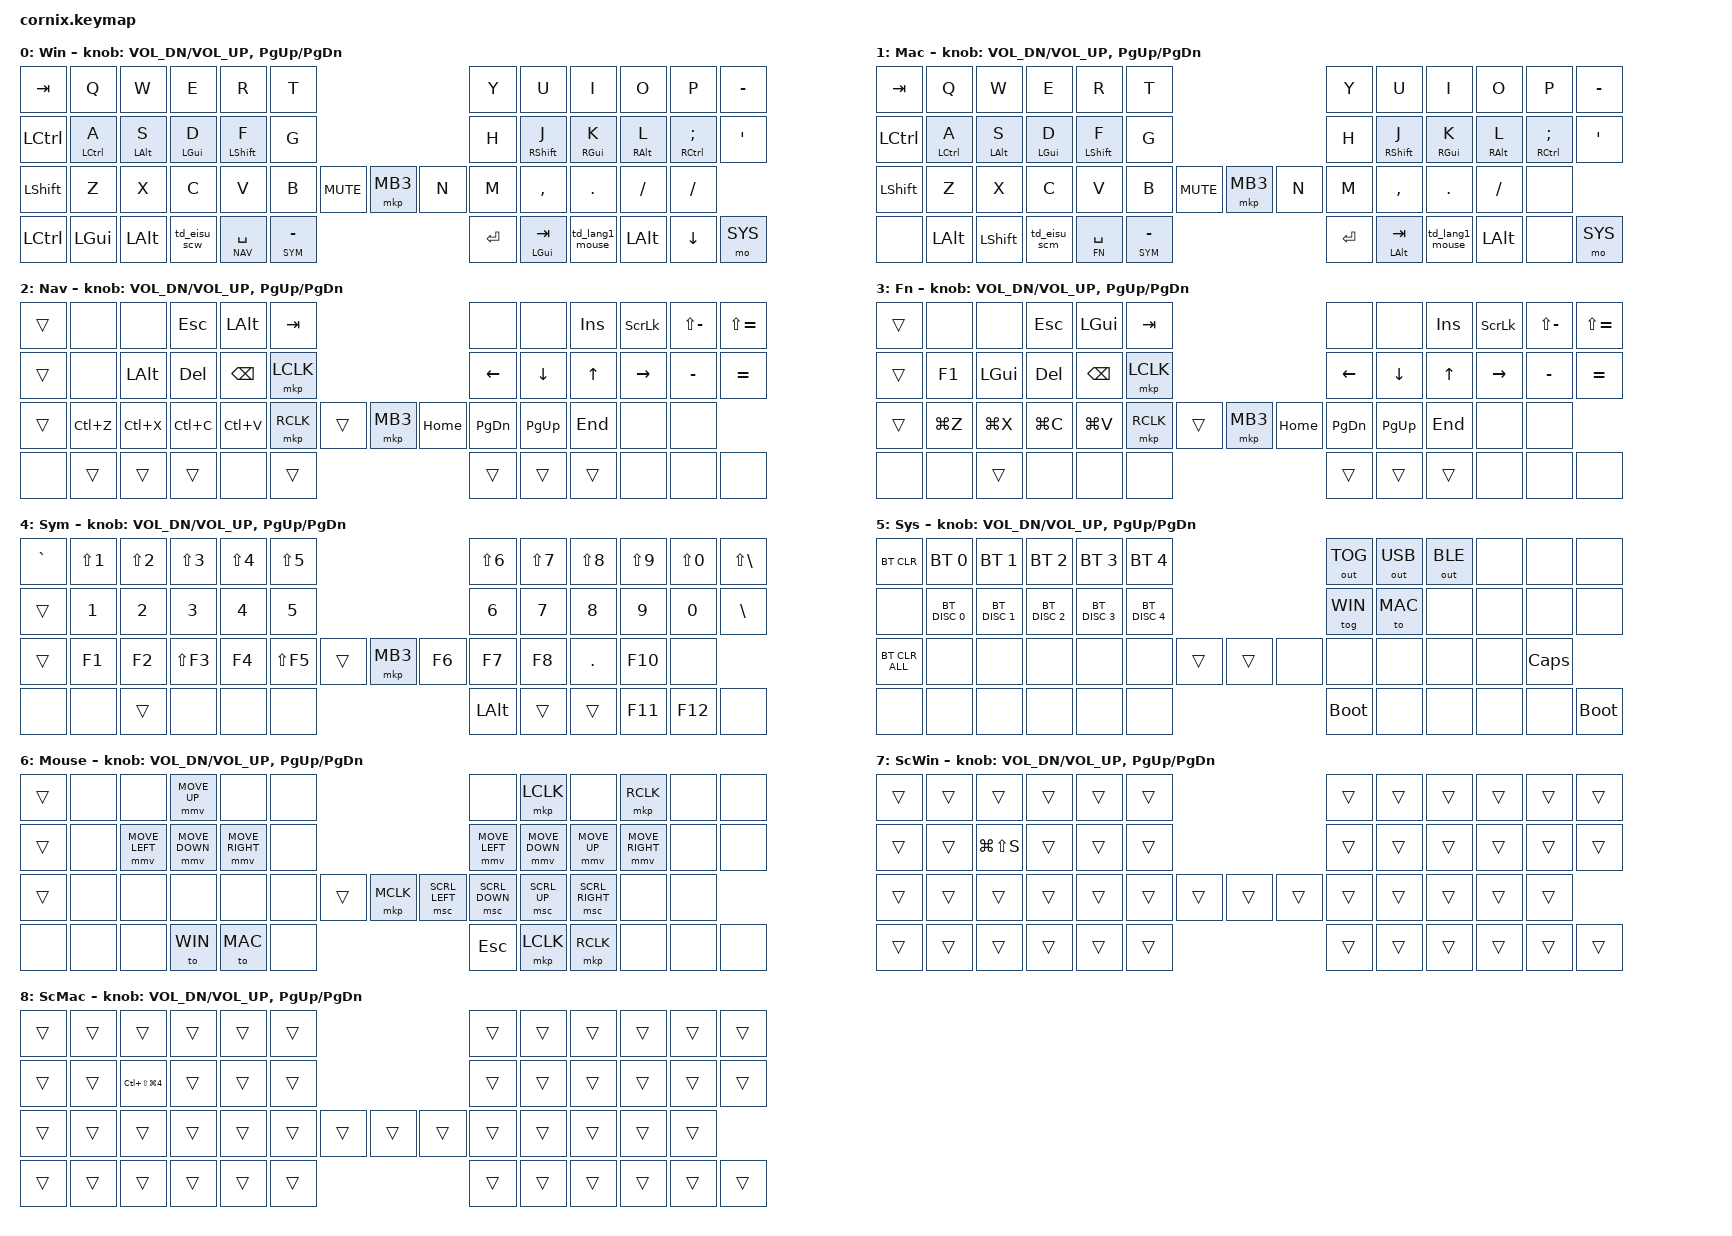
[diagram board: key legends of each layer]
/*
 * Cornix LP ZMK Keymap
 * Vial レイアウトをベースにホームロウモッドを追加
 *
 * Layer 0: WIN  - Windows ベース
 * Layer 1: MAC  - Mac ベース
 * Layer 2: NAV  - ナビゲーション（Win: LH1ホールド）
 * Layer 3: FN   - ファンクション（Mac: LH1ホールド）
 * Layer 4: SYM  - 記号・数字（LH0ホールド）
 * Layer 5: SYS  - システム・BT（RP2）
 * Layer 6: MOUSE- マウス操作（RH2 のダブルタップで起動／&to WIN・&to MAC で復帰）
 * Layer 7: SCW  - ショートカット Win（Ctrl 系。LH2 のダブルタップ＋ホールドで一時起動）
 * Layer 8: SCM  - ショートカット Mac（Cmd 系。LH2 のダブルタップ＋ホールドで一時起動）
 */

#include "zmk-helpers/helper.h"
#include "includes/cornix54.h"
#include <behaviors.dtsi>
#include <dt-bindings/zmk/bt.h>
#include <dt-bindings/zmk/outputs.h>
#include <dt-bindings/zmk/ext_power.h>
#include <dt-bindings/zmk/keys.h>
#include <dt-bindings/zmk/pointing.h>

// ホームロウモッドのタイミング設定
#define HM_TAPPING_TERM      250  // 通常キー（Ctrl/Alt/Gui）
#define HM_TAPPING_TERM_FAST 200  // Shift（より速く反応）
#define HM_PRIOR_IDLE        70   // 直前キー入力後 70ms 以内なら常にタップ

// レイヤー番号
#define WIN 0
#define MAC 1
#define NAV 2
#define FN  3
#define SYM 4
#define SYS 5
#define MOUSE 6
#define SCW 7
#define SCM 8

// ホームロウモッドの hold-trigger-key-positions 用定義
#define KEYS_L LT0 LT1 LT2 LT3 LT4 LT5 LM0 LM1 LM2 LM3 LM4 LM5 LB0 LB1 LB2 LB3 LB4 LB5
#define KEYS_R RT0 RT1 RT2 RT3 RT4 RT5 RM0 RM1 RM2 RM3 RM4 RM5 RB0 RB1 RB2 RB3 RB4 RB5
#define KEYS_T LH1 LH0 RH0 RH1

/ {
    behaviors {
        // 左手ホームロウモッド（右手キーを押したときだけホールドが発動）
        // tap-preferred: tapping-term 経過時のみホールド判定（左右で同じタイミング）
        hm_l: homerow_mods_left {
            compatible = "zmk,behavior-hold-tap";
            #binding-cells = <2>;
            bindings = <&kp>, <&kp>;
            flavor = "tap-preferred";
            tapping-term-ms = <HM_TAPPING_TERM>;
            quick-tap-ms = <200>;
            require-prior-idle-ms = <HM_PRIOR_IDLE>;
            hold-trigger-key-positions = <KEYS_R KEYS_T>;
            hold-trigger-on-release;
        };

        // 右手ホームロウモッド（左手キーを押したときだけホールドが発動）
        hm_r: homerow_mods_right {
            compatible = "zmk,behavior-hold-tap";
            #binding-cells = <2>;
            bindings = <&kp>, <&kp>;
            flavor = "tap-preferred";
            tapping-term-ms = <HM_TAPPING_TERM>;
            quick-tap-ms = <200>;
            require-prior-idle-ms = <HM_PRIOR_IDLE>;
            hold-trigger-key-positions = <KEYS_L KEYS_T>;
            hold-trigger-on-release;
        };

        // 左 Shift（速いタッピングタイム）
        hm_shift_l: hm_shift_l {
            compatible = "zmk,behavior-hold-tap";
            #binding-cells = <2>;
            bindings = <&kp>, <&kp>;
            flavor = "tap-preferred";
            tapping-term-ms = <HM_TAPPING_TERM_FAST>;
            quick-tap-ms = <200>;
            require-prior-idle-ms = <HM_PRIOR_IDLE>;
            hold-trigger-key-positions = <KEYS_R KEYS_T>;
            hold-trigger-on-release;
        };

        // 右 Shift（速いタッピングタイム）
        hm_shift_r: hm_shift_r {
            compatible = "zmk,behavior-hold-tap";
            #binding-cells = <2>;
            bindings = <&kp>, <&kp>;
            flavor = "tap-preferred";
            tapping-term-ms = <HM_TAPPING_TERM_FAST>;
            quick-tap-ms = <200>;
            require-prior-idle-ms = <HM_PRIOR_IDLE>;
            hold-trigger-key-positions = <KEYS_L KEYS_T>;
            hold-trigger-on-release;
        };

        // 位置制限なしのホールドタップ（サムキー用）
        hm: homerow_mods {
            compatible = "zmk,behavior-hold-tap";
            #binding-cells = <2>;
            bindings = <&kp>, <&kp>;
            flavor = "balanced";
            tapping-term-ms = <HM_TAPPING_TERM>;
            quick-tap-ms = <200>;
        };

        // レイヤータップ（サムキー用）
        lt: layer_tap {
            compatible = "zmk,behavior-hold-tap";
            #binding-cells = <2>;
            bindings = <&mo>, <&kp>;
            flavor = "hold-preferred";
            tapping-term-ms = <HM_TAPPING_TERM>;
            quick-tap-ms = <200>;
        };

        // RH2: タップ=LANG1 / ホールド=Shift / ダブルタップ=MOUSE レイヤーへ切替
        // （内側のホールドタップ &hm をネストして tap/hold を再現）
        td_lang1_mouse: tapdance_lang1_mouse {
            compatible = "zmk,behavior-tap-dance";
            #binding-cells = <0>;
            tapping-term-ms = <200>;
            bindings = <&hm LSHFT LANG1>, <&to MOUSE>;
        };

        // LH2(Win): タップ=LANG2(英数) / ホールド=LSHFT / ダブルタップ＋ホールド=SCW へ一時切替
        td_eisu_scw: tapdance_eisu_scw {
            compatible = "zmk,behavior-tap-dance";
            #binding-cells = <0>;
            tapping-term-ms = <200>;
            bindings = <&hm LSHFT LANG2>, <&mo SCW>;
        };

        // LH2(Mac): タップ=LANG2(英数) / ホールド=LGUI / ダブルタップ＋ホールド=SCM へ一時切替
        td_eisu_scm: tapdance_eisu_scm {
            compatible = "zmk,behavior-tap-dance";
            #binding-cells = <0>;
            tapping-term-ms = <200>;
            bindings = <&hm LGUI LANG2>, <&mo SCM>;
        };
    };

    combos {
        compatible = "zmk,combos";

        // Win レイヤーで M+A+C → Mac レイヤーへ切替
        combo_to_mac {
            bindings = <&to MAC>;
            key-positions = <13 27 33>;  // A C M（mac と打つ → mac レイヤーへ）
            layers = <WIN>;
        };

        // Mac レイヤーで W+I+N → Win レイヤーへ切替
        combo_to_win {
            bindings = <&to WIN>;
            key-positions = <2 8 32>;    // W I N（win と打つ → win レイヤーへ）
            layers = <MAC>;
        };

        // D+F → (
        combo_lparen {
            bindings = <&kp LS(N9)>;
            key-positions = <15 16>;     // D F
            layers = <MAC WIN>;
        };

        // J+K → )
        combo_rparen {
            bindings = <&kp LS(N0)>;
            key-positions = <19 20>;     // J K
            layers = <MAC WIN>;
        };

        // W+E+R → {
        combo_lbrace {
            bindings = <&kp LS(LBKT)>;
            key-positions = <2 3 4>;     // W E R
            layers = <MAC WIN>;
        };

        // U+I+O → }
        combo_rbrace {
            bindings = <&kp LS(RBKT)>;
            key-positions = <7 8 9>;     // U I O
            layers = <MAC WIN>;
        };

        // C+V → [
        combo_lbracket {
            bindings = <&kp LBKT>;
            key-positions = <27 28>;     // C V
            layers = <MAC WIN>;
        };

        // M+, → ]
        combo_rbracket {
            bindings = <&kp RBKT>;
            key-positions = <33 34>;     // M ,
            layers = <MAC WIN>;
        };
    };

    keymap {
        compatible = "zmk,keymap";

        // ─────────────────────────────────────────────────────────────────────
        // Layer 0: WIN
        // ホームロウ: A=Ctrl S=Alt D=Gui F=Shift | J=Shift K=Gui L=Alt ;=Ctrl
        // ─────────────────────────────────────────────────────────────────────
        mac_layer {
            display-name = "Win";
            bindings = <
//  ╭─────────┬──────────────────┬──────────────┬──────────────┬───────────────────┬──────────╮                              ╭──────────┬───────────────────┬─────────────────┬──────────────┬───────────────────┬──────────╮
    &kp TAB    &kp Q              &kp W          &kp E          &kp R               &kp T                                     &kp Y      &kp U               &kp I             &kp O          &kp P               &kp MINUS
//  ├─────────┼──────────────────┼──────────────┼──────────────┼───────────────────┼──────────┤                              ├──────────┼───────────────────┼─────────────────┼──────────────┼───────────────────┼──────────┤
    &kp LCTRL  &hm_l LCTRL A      &hm_l LALT S   &hm_l LGUI D   &hm_shift_l LSHFT F &kp G                                    &kp H      &hm_shift_r RSHFT J &hm_r RGUI K      &hm_r RALT L   &hm_r RCTRL SEMI    &kp SQT
//  ├─────────┼──────────────────┼──────────────┼──────────────┼───────────────────┼──────────┼──────────╮  ╭──────────┼──────────┼───────────────────┼─────────────────┼──────────────┼───────────────────┼──────────┤
    &kp LSHFT  &kp Z              &kp X          &kp C          &kp V               &kp B      &kp C_MUTE   &mkp MB3   &kp N      &kp M               &kp COMMA         &kp DOT        &kp FSLH            &kp FSLH
//  ├─────────┼──────────────────┼──────────────┼──────────────┼───────────────────┼──────────╯              ╰──────────┼───────────────────┼─────────────────┼──────────────┼───────────────────┼──────────┤
    &kp LCTRL  &kp LGUI           &kp LALT       &td_eisu_scw    &lt NAV SPACE      &lt SYM MINUS                            &kp ENTER  &hm LGUI TAB        &td_lang1_mouse   &kp LALT       &kp DOWN            &mo SYS
//  ╰─────────┴──────────────────┴──────────────┴──────────────┴───────────────────┴──────────────────────────────────────────────────────┴─────────────────┴──────────────┴───────────────────┴──────────╯
            >;
            sensor-bindings = <&inc_dec_kp C_VOL_DN C_VOL_UP &inc_dec_kp PG_UP PG_DN>;
        };

        // ─────────────────────────────────────────────────────────────────────
        // Layer 1: MAC（Mac 用）
        // ─────────────────────────────────────────────────────────────────────
        win_layer {
            display-name = "Mac";
            bindings = <
    &kp TAB    &kp Q              &kp W          &kp E          &kp R               &kp T                                     &kp Y      &kp U               &kp I             &kp O          &kp P               &kp MINUS
    &kp LCTRL  &hm_l LCTRL A      &hm_l LALT S   &hm_l LGUI D   &hm_shift_l LSHFT F &kp G                                    &kp H      &hm_shift_r RSHFT J &hm_r RGUI K      &hm_r RALT L   &hm_r RCTRL SEMI    &kp SQT
    &kp LSHFT  &kp Z              &kp X          &kp C          &kp V               &kp B      &kp C_MUTE   &mkp MB3   &kp N      &kp M               &kp COMMA         &kp DOT        &kp FSLH            &none
    &none      &kp LALT           &kp LSHFT      &td_eisu_scm    &lt FN SPACE       &lt SYM MINUS                            &kp ENTER  &hm LALT TAB        &td_lang1_mouse   &kp LALT       &none               &mo SYS
            >;
            sensor-bindings = <&inc_dec_kp C_VOL_DN C_VOL_UP &inc_dec_kp PG_UP PG_DN>;
        };

        // ─────────────────────────────────────────────────────────────────────
        // Layer 2: NAV（ナビゲーション・Win 用）
        // LH1 ホールドで起動
        // 左手: G=左クリック / B=右クリック（右手は Nape Pro のボールに置いたまま）
        //       Z/X/C/V = Ctrl+Z/X/C/V（元に戻す・切り取り・コピー・ペースト）
        // ─────────────────────────────────────────────────────────────────────
        nav_layer {
            display-name = "Nav";
            bindings = <
    &trans     &none              &none          &kp ESC        &kp LALT            &kp TAB                                   &none      &none               &kp INS           &kp SLCK       &kp LS(MINUS)       &kp LS(EQUAL)
    &trans     &none              &kp LALT       &kp DEL        &kp BSPC            &mkp LCLK                                 &kp LEFT   &kp DOWN            &kp UP            &kp RIGHT      &kp MINUS           &kp EQUAL
    &trans     &kp LC(Z)          &kp LC(X)      &kp LC(C)      &kp LC(V)           &mkp RCLK  &trans       &mkp MB3   &kp HOME   &kp PG_DN           &kp PG_UP         &kp END        &none               &none
    &none      &trans             &trans         &trans         &none               &trans                                    &trans     &trans              &trans            &none          &none               &none
            >;
            sensor-bindings = <&inc_dec_kp C_VOL_DN C_VOL_UP &inc_dec_kp PG_UP PG_DN>;
        };

        // ─────────────────────────────────────────────────────────────────────
        // Layer 3: FN（ファンクション・Mac 用）
        // LH1 ホールドで起動（Mac モード時）
        // 左手: G=左クリック / B=右クリック（右手は Nape Pro のボールに置いたまま）
        //       Z/X/C/V = Cmd+Z/X/C/V（元に戻す・切り取り・コピー・ペースト）
        // ─────────────────────────────────────────────────────────────────────
        fn_layer {
            display-name = "Fn";
            bindings = <
    &trans     &none              &none          &kp ESC        &kp LGUI            &kp TAB                                   &none      &none               &kp INS           &kp SLCK       &kp LS(MINUS)       &kp LS(EQUAL)
    &trans     &kp F1             &kp LGUI       &kp DEL        &kp BSPC            &mkp LCLK                                 &kp LEFT   &kp DOWN            &kp UP            &kp RIGHT      &kp MINUS           &kp EQUAL
    &trans     &kp LG(Z)          &kp LG(X)      &kp LG(C)      &kp LG(V)           &mkp RCLK  &trans       &mkp MB3   &kp HOME   &kp PG_DN           &kp PG_UP         &kp END        &none               &none
    &none      &none              &trans         &none          &none               &none                                     &trans     &trans              &trans            &none          &none               &none
            >;
            sensor-bindings = <&inc_dec_kp C_VOL_DN C_VOL_UP &inc_dec_kp PG_UP PG_DN>;
        };

        // ─────────────────────────────────────────────────────────────────────
        // Layer 4: SYM（記号・数字）
        // LH0 ホールドで起動
        // ─────────────────────────────────────────────────────────────────────
        sym_layer {
            display-name = "Sym";
            bindings = <
    &kp GRAVE  &kp LS(N1)         &kp LS(N2)     &kp LS(N3)     &kp LS(N4)          &kp LS(N5)                                &kp LS(N6) &kp LS(N7)          &kp LS(N8)        &kp LS(N9)     &kp LS(N0)          &kp LS(BSLH)
    &trans     &kp N1             &kp N2         &kp N3         &kp N4              &kp N5                                    &kp N6     &kp N7              &kp N8            &kp N9         &kp N0              &kp BSLH
    &trans     &kp F1             &kp F2         &kp LS(F3)     &kp F4              &kp LS(F5) &trans       &mkp MB3   &kp F6     &kp F7              &kp F8            &kp DOT        &kp F10             &none
    &none      &none              &trans         &none          &none               &none                                     &kp LALT   &trans              &trans            &kp F11        &kp F12             &none
            >;
            sensor-bindings = <&inc_dec_kp C_VOL_DN C_VOL_UP &inc_dec_kp PG_UP PG_DN>;
        };

        // ─────────────────────────────────────────────────────────────────────
        // Layer 5: SYS（システム・Bluetooth）
        // RP2（右外側サムキー）ホールドで起動
        // ─────────────────────────────────────────────────────────────────────
        sys_layer {
            display-name = "Sys";
            bindings = <
    &bt BT_CLR      &bt BT_SEL 0   &bt BT_SEL 1   &bt BT_SEL 2   &bt BT_SEL 3   &bt BT_SEL 4                               &out OUT_TOG &out OUT_USB      &out OUT_BLE      &none          &none               &none
    &none           &bt BT_DISC 0  &bt BT_DISC 1  &bt BT_DISC 2  &bt BT_DISC 3  &bt BT_DISC 4                              &tog WIN   &to MAC             &none             &none          &none               &none
    &bt BT_CLR_ALL  &none          &none          &none          &none          &none          &trans       &trans     &none      &none               &none             &none          &none               &kp CAPS
    &none           &none          &none          &none          &none          &none                                         &bootloader &none             &none             &none          &none               &bootloader
            >;
            sensor-bindings = <&inc_dec_kp C_VOL_DN C_VOL_UP &inc_dec_kp PG_UP PG_DN>;
        };

        // ─────────────────────────────────────────────────────────────────────
        // Layer 6: MOUSE（マウス操作）
        // 起動: RH2 のダブルタップ（&to MOUSE）
        // 復帰: 左サム &to MAC（LH1）/ &to WIN（LH2）
        // 移動: 右手 H/J/K/L ＝ 左/下/上/右、左手 E/S/D/F ＝ 上/左/下/右（同速）
        // クリック: 右サム RH1=左/ RH2=右、右上 U=左/ O=右、中央 MB3=中
        // スクロール: 右下 N/M/,/. ＝ 左/下/上/右
        // ─────────────────────────────────────────────────────────────────────
        mouse_layer {
            display-name = "Mouse";
            bindings = <
//  ╭─────────┬──────────────────┬──────────────┬──────────────┬───────────────────┬──────────╮                              ╭──────────┬───────────────────┬─────────────────┬──────────────┬───────────────────┬──────────╮
    &trans     &none              &none          &mmv MOVE_UP   &none               &none                                     &none      &mkp LCLK           &none             &mkp RCLK      &none               &none
//  ├─────────┼──────────────────┼──────────────┼──────────────┼───────────────────┼──────────┤                              ├──────────┼───────────────────┼─────────────────┼──────────────┼───────────────────┼──────────┤
    &trans     &none              &mmv MOVE_LEFT &mmv MOVE_DOWN &mmv MOVE_RIGHT     &none                                     &mmv MOVE_LEFT &mmv MOVE_DOWN  &mmv MOVE_UP      &mmv MOVE_RIGHT &none              &none
//  ├─────────┼──────────────────┼──────────────┼──────────────┼───────────────────┼──────────┼──────────╮  ╭──────────┼──────────┼───────────────────┼─────────────────┼──────────────┼───────────────────┼──────────┤
    &trans     &none              &none          &none          &none               &none      &trans       &mkp MCLK  &msc SCRL_LEFT &msc SCRL_DOWN  &msc SCRL_UP      &msc SCRL_RIGHT &none             &none
//  ├─────────┼──────────────────┼──────────────┼──────────────┼───────────────────┼──────────╯              ╰──────────┼───────────────────┼─────────────────┼──────────────┼───────────────────┼──────────┤
    &none      &none              &none          &to WIN        &to MAC             &none                                     &kp ESC    &mkp LCLK           &mkp RCLK         &none          &none               &none
//  ╰─────────┴──────────────────┴──────────────┴──────────────┴───────────────────┴──────────────────────────────────────────────────────┴─────────────────┴──────────────┴───────────────────┴──────────╯
            >;
            sensor-bindings = <&inc_dec_kp C_VOL_DN C_VOL_UP &inc_dec_kp PG_UP PG_DN>;
        };
        // ─────────────────────────────────────────────────────────────────────
        // Layer 7: SCW（ショートカット・Windows）
        // 起動: LH2 のダブルタップ＋ホールド（&mo SCW、押している間だけ有効）
        // 現状は S = スクリーンショット（Win+Shift+S）のみ。他は &trans（順次追加予定）
        // ─────────────────────────────────────────────────────────────────────
        scw_layer {
            display-name = "ScWin";
            bindings = <
    &trans     &trans             &trans         &trans         &trans              &trans                                    &trans     &trans              &trans            &trans         &trans              &trans
    &trans     &trans             &kp LG(LS(S))  &trans         &trans              &trans                                    &trans     &trans              &trans            &trans         &trans              &trans
    &trans     &trans             &trans         &trans         &trans              &trans     &trans       &trans     &trans     &trans              &trans            &trans         &trans              &trans
    &trans     &trans             &trans         &trans         &trans              &trans                                    &trans     &trans              &trans            &trans         &trans              &trans
            >;
            sensor-bindings = <&inc_dec_kp C_VOL_DN C_VOL_UP &inc_dec_kp PG_UP PG_DN>;
        };

        // ─────────────────────────────────────────────────────────────────────
        // Layer 8: SCM（ショートカット・Mac）
        // 起動: LH2 のダブルタップ＋ホールド（&mo SCM、押している間だけ有効）
        // 現状は S = スクリーンショット（Ctrl+Shift+Cmd+4）のみ。他は &trans（順次追加予定）
        // ─────────────────────────────────────────────────────────────────────
        scm_layer {
            display-name = "ScMac";
            bindings = <
    &trans     &trans               &trans         &trans         &trans              &trans                                    &trans     &trans              &trans            &trans         &trans              &trans
    &trans     &trans               &kp LC(LS(LG(N4)))  &trans    &trans              &trans                                   &trans     &trans              &trans            &trans         &trans              &trans
    &trans     &trans               &trans         &trans         &trans              &trans     &trans       &trans     &trans     &trans              &trans            &trans         &trans              &trans
    &trans     &trans               &trans         &trans         &trans              &trans                                    &trans     &trans              &trans            &trans         &trans              &trans
            >;
            sensor-bindings = <&inc_dec_kp C_VOL_DN C_VOL_UP &inc_dec_kp PG_UP PG_DN>;
        };
    };
};
